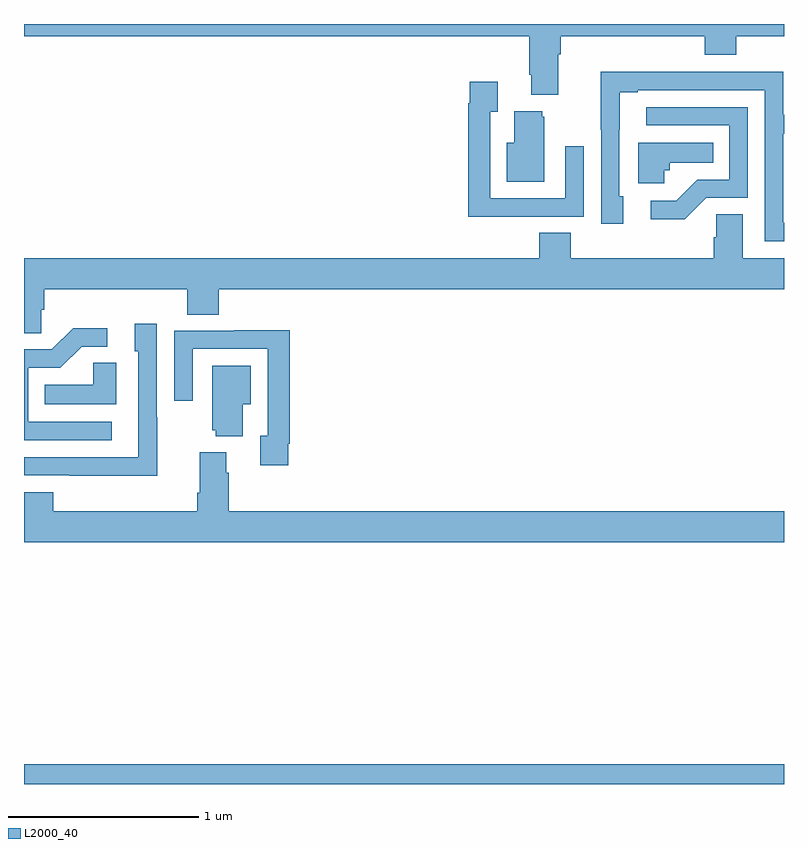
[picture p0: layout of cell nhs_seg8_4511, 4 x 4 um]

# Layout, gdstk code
import gdstk
lib = gdstk.Library(unit=1e-6, precision=1e-09)
def R(c, l, rs):  # rectangles x0, y0, x1, y1
    for r in rs: c.add(gdstk.rectangle(r[:2], r[2:], *l))
def P(c, l, *ps):  # polygons
    for p in ps: c.add(gdstk.Polygon(p, *l))
L2000_40 = (2000, 40)

nhs_seg8_4511 = lib.new_cell('nhs_seg8_4511')
R(nhs_seg8_4511, L2000_40, [(385,1109.9,389,1110.004)])
P(nhs_seg8_4511, L2000_40, [(385,1113.836),(387.659,1113.836),(387.659,1113.634),(387.671,1113.634),(387.671,1113.527),(387.811,1113.527),(387.811,1113.74),(387.824,1113.74),(387.824,1113.836),(388.583,1113.836),(388.583,1113.737),(388.748,1113.737),(388.748,1113.836),(389,1113.836),(389,1113.9),(385,1113.9)],
  [(389,1112.853),(388.995,1112.853),(388.995,1113.322),(389,1113.322),(389,1113.423),(388.995,1113.423),(388.995,1113.648),(388.499,1113.648),(388.499,1113.65),(388.036,1113.65),(388.036,1113.343),(388.038,1113.343),(388.038,1112.85),(388.153,1112.85),(388.153,1112.994),(388.134,1112.994),(388.134,1113.343),(388.135,1113.343),(388.135,1113.54),(388.231,1113.54),(388.231,1113.552),(388.899,1113.552),(388.899,1112.757),(389,1112.757)],
  [(387.629,1112.886),(387.945,1112.886),(387.945,1113.256),(387.849,1113.256),(387.849,1112.982),(387.453,1112.982),(387.453,1113.439),(387.493,1113.439),(387.493,1113.595),(387.345,1113.595),(387.345,1113.482),(387.337,1113.482),(387.337,1112.885),(387.629,1112.885)],
  [(388.59,1112.985),(388.809,1112.985),(388.809,1113.462),(388.275,1113.462),(388.275,1113.366),(388.713,1113.366),(388.713,1113.081),(388.544,1113.081),(388.433,1112.97),(388.299,1112.97),(388.299,1112.873),(388.477,1112.873)],
  [(387.739,1113.411),(387.728,1113.411),(387.728,1113.442),(387.581,1113.442),(387.581,1113.274),(387.542,1113.274),(387.542,1113.071),(387.739,1113.071)],
  [(388.371,1113.129),(388.398,1113.129),(388.398,1113.17),(388.628,1113.17),(388.628,1113.274),(388.232,1113.274),(388.232,1113.062),(388.371,1113.062)],
  [(385.092,1112.395),(385.106,1112.395),(385.106,1112.504),(385.859,1112.504),(385.859,1112.371),(386.024,1112.371),(386.024,1112.504),(389,1112.504),(389,1112.668),(388.783,1112.668),(388.783,1112.9),(388.644,1112.9),(388.644,1112.777),(388.631,1112.777),(388.631,1112.668),(387.878,1112.668),(387.878,1112.801),(387.713,1112.801),(387.713,1112.668),(385,1112.668),(385,1112.272),(385.092,1112.272)],
  [(385.701,1111.829),(385.698,1111.829),(385.698,1112.323),(385.583,1112.323),(385.583,1112.178),(385.602,1112.178),(385.602,1111.62),(385,1111.62),(385,1111.524),(385.237,1111.524),(385.237,1111.523),(385.701,1111.523)],
  [(385.462,1111.806),(385.023,1111.806),(385.023,1112.091),(385.192,1112.091),(385.303,1112.202),(385.438,1112.202),(385.438,1112.3),(385.259,1112.3),(385.146,1112.187),(385,1112.187),(385,1111.71),(385.462,1111.71)],
  [(386.392,1111.69),(386.399,1111.69),(386.399,1112.288),(386.107,1112.288),(386.107,1112.286),(385.791,1112.286),(385.791,1111.917),(385.887,1111.917),(385.887,1112.19),(386.283,1112.19),(386.283,1111.734),(386.243,1111.734),(386.243,1111.578),(386.392,1111.578)],
  [(385.486,1112.117),(385.365,1112.117),(385.365,1112.002),(385.108,1112.002),(385.108,1111.898),(385.486,1111.898)],
  [(386.152,1111.898),(386.194,1111.898),(386.194,1112.101),(385.991,1112.101),(385.991,1111.761),(386.009,1111.761),(386.009,1111.73),(386.152,1111.73)],
  [(389,1111.336),(386.078,1111.336),(386.078,1111.538),(386.065,1111.538),(386.065,1111.645),(385.925,1111.645),(385.925,1111.432),(385.913,1111.432),(385.913,1111.336),(385.154,1111.336),(385.154,1111.435),(385,1111.435),(385,1111.172),(389,1111.172)])

lib.write_gds('nhs_seg8_4511.gds')
